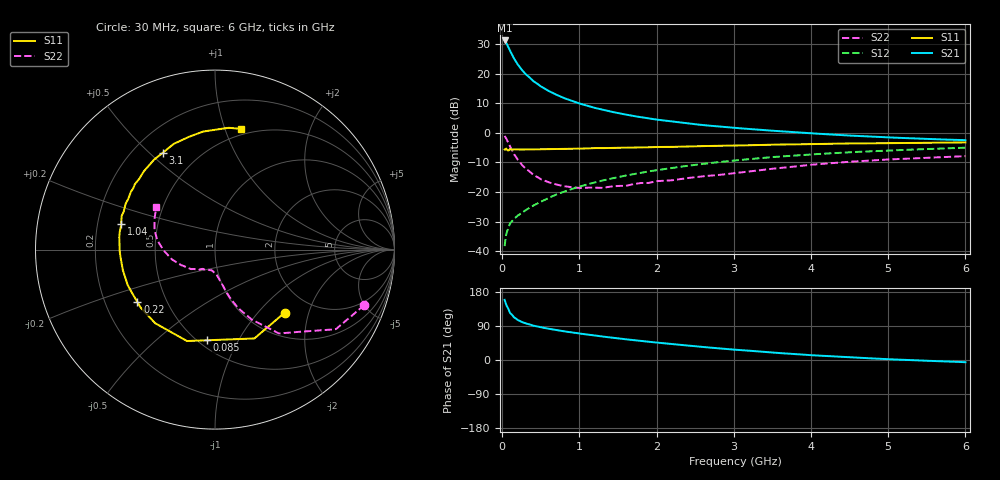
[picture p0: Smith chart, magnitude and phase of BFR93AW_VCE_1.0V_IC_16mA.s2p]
! Infineon Technologies  Discrete & RF Semiconductors
! BFR93AW
! VCE =  1.0 V,  IC =  16 mA
! Common Emitter S-Parameters:  Nov 2015
# GHz  S  MA  R  50
!  f  S11  S21  S12  S22
! GHz  MAG  ANG  MAG  ANG  MAG  ANG  MAG  ANG
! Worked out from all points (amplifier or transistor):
!   206 points, 30 MHz to 6 GHz, reference 50 ohm
!   highest |S21| = 31.2 dB at 30 MHz (marker M1)
!   |S21| within 3 dB of that: start of sweep to 90.82 MHz
!   unconditionally stable (mu >= 1): 540.4 MHz to 2.674 GHz
!   at 200 MHz: K = 0.66, MSG = 25.6 dB, |S12| = -28.0 dB
!   at 1.56 GHz: K = 1.07, MAG = 8.9 dB, |S12| = -14.7 dB
!   at 6 GHz: K = 0.97, MSG = 1.3 dB, |S12| = -5.0 dB
!   S11 on the Smith chart (normalised r, x): 30 MHz: 1.46, -1.41; 85 MHz: 0.55, -0.75; 220 MHz: 0.34, -0.27; 1.04 GHz: 0.30, +0.12; 3.1 GHz: 0.32, +0.55; 6 GHz: 0.44, +1.13
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0.03  0.5236 -42.1  36.52 158.7  0.0121 71.8  0.8876 -20.4
0.05  0.5415 -66.1  33.58 145.1  0.019 66.3  0.8065 -33.3
0.085  0.5069 -94.9  26.8 132.0  0.0261 57.9  0.6442 -45.5
0.1  0.5327 -107.0  24.49 124.3  0.0293 55.6  0.5871 -52.7
0.15  0.5285 -129.1  18.19 112.8  0.0348 53.4  0.4401 -62.3
0.2  0.5253 -142.1  14.35 105.6  0.0397 53.7  0.3517 -68.3
0.22  0.522 -145.9  13.28 103.8  0.0415 54.2  0.3267 -69.7
0.26  0.5216 -152.9  11.35 99.7  0.0451 55.2  0.2819 -72.6
0.3  0.525 -157.9  9.917 96.6  0.0488 56.5  0.2512 -74.6
0.4  0.526 -167.4  7.539 90.8  0.0586 60.1  0.196 -78.5
0.5  0.5275 -174.2  6.093 86.2  0.0683 61.6  0.1641 -82.3
0.6  0.531 -179.0  5.109 82.4  0.079 63.5  0.1453 -85.1
0.7  0.5328 176.5  4.414 78.9  0.0905 64.3  0.1338 -88.7
0.8  0.5381 172.5  3.873 75.7  0.101 65.3  0.125 -94.2
1.04  0.5422 164.7  3.026 68.8  0.1275 65.2  0.1174 -102.2
1.2  0.5528 160.2  2.64 64.6  0.145 64.7  0.1181 -108.2
1.5  0.5596 152.8  2.153 57.1  0.1782 63.3  0.1266 -118.6
2.02  0.5764 140.4  1.663 45.5  0.2355 59.2  0.1527 -133.2
3.1  0.6126 118.5  1.188 26.0  0.3491 48.5  0.2143 -158.0
4.1  0.647 101.6  0.964 11.6  0.4387 37.1  0.2948 178.3
5.1  0.6712 88.1  0.827 1.2  0.5081 26.1  0.3584 160.2
6  0.6876 78.0  0.752 -5.8  0.5607 17.1  0.4031 144.3
